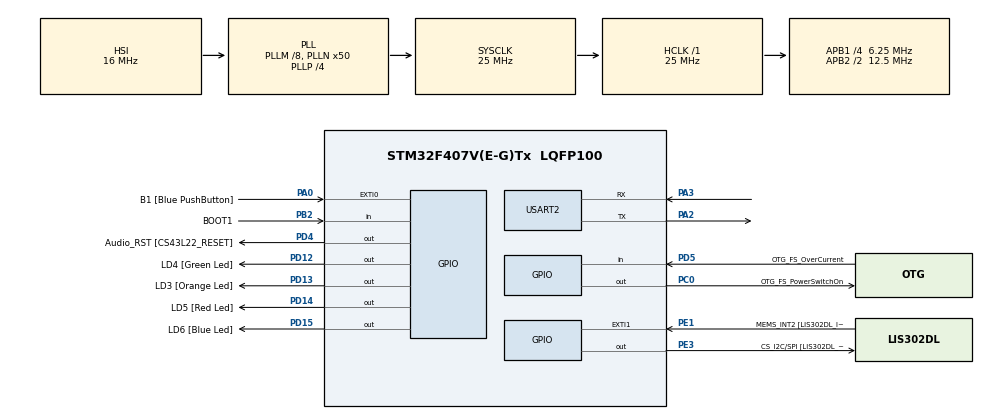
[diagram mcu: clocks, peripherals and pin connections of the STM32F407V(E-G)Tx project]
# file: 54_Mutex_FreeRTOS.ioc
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FREERTOS.Mutexes01=UART_Mutex,Dynamic,NULL,Available
FREERTOS.Tasks01=defaultTask,24,128,StartDefaultTask,Default,NULL,Dynamic,NULL,NULL;myTask02,24,128,Task1,Default,NULL,Dynamic,NULL,NULL;myTask03,24,128,Task2,Default,NULL,Dynamic,NULL,NULL
Mcu.Family=STM32F4
Mcu.Name=STM32F407V(E-G)Tx
Mcu.Package=LQFP100
NVIC.PriorityGroup=NVIC_PRIORITYGROUP_4
PA0-WKUP.GPIO_Label=B1 [Blue PushButton]
PA0-WKUP.Signal=GPXTI0
PA10.GPIO_Label=OTG_FS_ID
PA10.GPIO_Mode=GPIO_MODE_AF_PP
PA10.GPIO_PuPd=GPIO_NOPULL
PA10.GPIO_Speed=GPIO_SPEED_FREQ_LOW
PA10.Signal=USB_OTG_FS_ID
PA11.GPIO_Label=OTG_FS_DM
PA11.GPIO_Mode=GPIO_MODE_AF_PP
PA11.GPIO_PuPd=GPIO_NOPULL
PA11.GPIO_Speed=GPIO_SPEED_FREQ_LOW
PA11.Signal=USB_OTG_FS_DM
PA12.GPIO_Label=OTG_FS_DP
PA12.GPIO_Mode=GPIO_MODE_AF_PP
PA12.GPIO_PuPd=GPIO_NOPULL
PA12.GPIO_Speed=GPIO_SPEED_FREQ_LOW
PA12.Signal=USB_OTG_FS_DP
PA13.GPIO_Label=SWDIO
PA13.Signal=SYS_JTMS-SWDIO
PA14.GPIO_Label=SWCLK
PA14.Signal=SYS_JTCK-SWCLK
PA2.Mode=Asynchronous
PA2.Signal=USART2_TX
PA3.Mode=Asynchronous
PA3.Signal=USART2_RX
PA4.GPIO_Label=I2S3_WS [CS43L22_LRCK]
PA4.GPIO_Mode=GPIO_MODE_AF_PP
PA4.GPIO_PuPd=GPIO_NOPULL
PA4.GPIO_Speed=GPIO_SPEED_FREQ_LOW
PA4.Signal=I2S3_WS
PA5.GPIO_Label=SPI1_SCK [LIS302DL_SCL/SPC]
PA5.GPIO_Mode=GPIO_MODE_AF_PP
PA5.GPIO_PuPd=GPIO_NOPULL
PA5.GPIO_Speed=GPIO_SPEED_FREQ_LOW
PA5.Signal=SPI1_SCK
PA6.GPIO_Label=SPI1_MISO [LIS302DL_SDO]
PA6.GPIO_Mode=GPIO_MODE_AF_PP
PA6.GPIO_PuPd=GPIO_NOPULL
PA6.GPIO_Speed=GPIO_SPEED_FREQ_LOW
PA6.Signal=SPI1_MISO
PA7.GPIO_Label=SPI1_MOSI [LIS302DL_SDA/SDI/SDO]
PA7.GPIO_Mode=GPIO_MODE_AF_PP
PA7.GPIO_PuPd=GPIO_NOPULL
PA7.GPIO_Speed=GPIO_SPEED_FREQ_LOW
PA7.Signal=SPI1_MOSI
PA9.GPIO_Label=VBUS_FS
PA9.GPIO_Mode=GPIO_MODE_INPUT
PA9.GPIO_PuPd=GPIO_NOPULL
PA9.Signal=USB_OTG_FS_VBUS
PB10.GPIO_Label=CLK_IN [MP45DT02_CLK]
PB10.GPIO_Mode=GPIO_MODE_AF_PP
PB10.GPIO_PuPd=GPIO_NOPULL
PB10.GPIO_Speed=GPIO_SPEED_FREQ_LOW
PB10.Signal=I2S2_CK
PB2.GPIO_Label=BOOT1
PB2.GPIO_Mode=GPIO_MODE_INPUT
PB2.GPIO_PuPd=GPIO_NOPULL
PB2.Signal=GPIO_Input
PB3.GPIO_Label=SWO
PB3.Signal=SYS_JTDO-SWO
PB6.GPIO_Label=Audio_SCL [CS43L22_SCL]
PB6.GPIO_Mode=GPIO_MODE_AF_OD
PB6.GPIO_PuPd=GPIO_NOPULL
PB6.GPIO_Speed=GPIO_SPEED_FREQ_LOW
PB6.Signal=I2C1_SCL
PB9.GPIO_Label=Audio_SDA [CS43L22_SDA]
PB9.GPIO_Mode=GPIO_MODE_AF_OD
PB9.GPIO_PuPd=GPIO_NOPULL
PB9.GPIO_Speed=GPIO_SPEED_FREQ_LOW
PB9.Signal=I2C1_SDA
PC0.GPIO_Label=OTG_FS_PowerSwitchOn
PC0.GPIO_PuPd=GPIO_NOPULL
PC0.GPIO_Speed=GPIO_SPEED_FREQ_LOW
PC0.PinState=GPIO_PIN_SET
PC0.Signal=GPIO_Output
PC10.GPIO_Label=I2S3_SCK [CS43L22_SCLK]
PC10.GPIO_Mode=GPIO_MODE_AF_PP
PC10.GPIO_PuPd=GPIO_NOPULL
PC10.GPIO_Speed=GPIO_SPEED_FREQ_LOW
PC10.Signal=I2S3_CK
PC12.GPIO_Label=I2S3_SD [CS43L22_SDIN]
PC12.GPIO_Mode=GPIO_MODE_AF_PP
PC12.GPIO_PuPd=GPIO_NOPULL
PC12.GPIO_Speed=GPIO_SPEED_FREQ_LOW
PC12.Signal=I2S3_SD
PC14-OSC32_IN.GPIO_Label=PC14-OSC32_IN
PC14-OSC32_IN.Signal=RCC_OSC32_IN
PC15-OSC32_OUT.GPIO_Label=PC15-OSC32_OUT
PC15-OSC32_OUT.Signal=RCC_OSC32_OUT
PC3.GPIO_Label=PDM_OUT [MP45DT02_DOUT]
PC3.GPIO_Mode=GPIO_MODE_AF_PP
PC3.GPIO_PuPd=GPIO_NOPULL
PC3.GPIO_Speed=GPIO_SPEED_FREQ_LOW
PC3.Signal=I2S2_SD
PC7.GPIO_Label=I2S3_MCK [CS43L22_MCLK]
PC7.GPIO_Mode=GPIO_MODE_AF_PP
PC7.GPIO_PuPd=GPIO_NOPULL
PC7.GPIO_Speed=GPIO_SPEED_FREQ_LOW
PC7.Signal=I2S3_MCK
PD12.GPIO_Label=LD4 [Green Led]
PD12.GPIO_PuPd=GPIO_NOPULL
PD12.GPIO_Speed=GPIO_SPEED_FREQ_LOW
PD12.Signal=GPIO_Output
PD13.GPIO_Label=LD3 [Orange Led]
PD13.GPIO_PuPd=GPIO_NOPULL
PD13.GPIO_Speed=GPIO_SPEED_FREQ_LOW
PD13.Signal=GPIO_Output
PD14.GPIO_Label=LD5 [Red Led]
PD14.GPIO_PuPd=GPIO_NOPULL
PD14.GPIO_Speed=GPIO_SPEED_FREQ_LOW
PD14.Signal=GPIO_Output
PD15.GPIO_Label=LD6 [Blue Led]
PD15.GPIO_PuPd=GPIO_NOPULL
PD15.GPIO_Speed=GPIO_SPEED_FREQ_LOW
PD15.Signal=GPIO_Output
PD4.GPIO_Label=Audio_RST [CS43L22_RESET]
PD4.GPIO_PuPd=GPIO_NOPULL
PD4.GPIO_Speed=GPIO_SPEED_FREQ_LOW
PD4.Signal=GPIO_Output
PD5.GPIO_Label=OTG_FS_OverCurrent
PD5.GPIO_Mode=GPIO_MODE_INPUT
PD5.GPIO_PuPd=GPIO_NOPULL
PD5.Signal=GPIO_Input
PE1.GPIO_Label=MEMS_INT2 [LIS302DL_INT2]
PE1.GPIO_ModeDefaultEXTI=GPIO_MODE_EVT_RISING
PE1.GPIO_PuPd=GPIO_NOPULL
PE1.Signal=GPXTI1
PE3.GPIO_Label=CS_I2C/SPI [LIS302DL_CS_I2C/SPI]
PE3.GPIO_PuPd=GPIO_NOPULL
PE3.GPIO_Speed=GPIO_SPEED_FREQ_LOW
PE3.Signal=GPIO_Output
PH0-OSC_IN.GPIO_Label=PH0-OSC_IN
PH0-OSC_IN.Signal=RCC_OSC_IN
PH1-OSC_OUT.GPIO_Label=PH1-OSC_OUT
PH1-OSC_OUT.Signal=RCC_OSC_OUT
ProjectManager.HeapSize=0x200
ProjectManager.StackSize=0x400
ProjectManager.TargetToolchain=STM32CubeIDE
RCC.48MHZClocksFreq_Value=14285714.285714285
RCC.AHBFreq_Value=25000000
RCC.APB1CLKDivider=RCC_HCLK_DIV4
RCC.APB1Freq_Value=6250000
RCC.APB1TimFreq_Value=12500000
RCC.APB2CLKDivider=RCC_HCLK_DIV2
RCC.APB2Freq_Value=12500000
RCC.APB2TimFreq_Value=25000000
RCC.CortexFreq_Value=25000000
RCC.HCLKFreq_Value=25000000
RCC.HSE_VALUE=8000000
RCC.HSI_VALUE=16000000
RCC.LSE_VALUE=32768
RCC.PLLM=8
RCC.PLLN=50
RCC.PLLP=RCC_PLLP_DIV4
RCC.PLLQ=7
RCC.SYSCLKFreq_VALUE=25000000
RCC.SYSCLKSource=RCC_SYSCLKSOURCE_PLLCLK
RCC.VCOOutputFreq_Value=100000000
USART2.VirtualMode=VM_ASYNC
VP_FREERTOS_VS_CMSIS_V2.Mode=CMSIS_V2
board=STM32F407G-DISC1

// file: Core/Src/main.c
/* USER CODE BEGIN Header */
/**
  ******************************************************************************
  * @file           : main.c
  * @brief          : Main program body
  ******************************************************************************
  * @attention
  *
  * Copyright (c) 2026 STMicroelectronics.
  * All rights reserved.
  *
  * This software is licensed under terms that can be found in the LICENSE file
  * in the root directory of this software component.
  * If no LICENSE file comes with this software, it is provided AS-IS.
  *
  ******************************************************************************
  */
/* USER CODE END Header */
#include "main.h"
#include "cmsis_os.h"

/* USER CODE BEGIN Includes */
#include <stdio.h>
/* USER CODE END Includes */

UART_HandleTypeDef huart2;

/* Definitions for defaultTask */
osThreadId_t defaultTaskHandle;
const osThreadAttr_t defaultTask_attributes = {
  .name = "defaultTask",
  .stack_size = 128 * 4,
  .priority = (osPriority_t) osPriorityNormal,
};
/* Definitions for myTask02 */
osThreadId_t myTask02Handle;
const osThreadAttr_t myTask02_attributes = {
  .name = "myTask02",
  .stack_size = 128 * 4,
  .priority = (osPriority_t) osPriorityNormal,
};
/* Definitions for myTask03 */
osThreadId_t myTask03Handle;
const osThreadAttr_t myTask03_attributes = {
  .name = "myTask03",
  .stack_size = 128 * 4,
  .priority = (osPriority_t) osPriorityNormal,
};
/* Definitions for UART_Mutex */
osMutexId_t UART_MutexHandle;
const osMutexAttr_t UART_Mutex_attributes = {
  .name = "UART_Mutex"
};

void SystemClock_Config(void);
static void MX_GPIO_Init(void);
static void MX_USART2_UART_Init(void);
void StartDefaultTask(void *argument);
void Task1(void *argument);
void Task2(void *argument);

/* USER CODE BEGIN 0 */
// Redirect printf to USART2
int __io_putchar(int ch)
{
    HAL_UART_Transmit(&huart2,
                      (uint8_t*)&ch,
                      1,
                      HAL_MAX_DELAY);

    return ch;
}
/* USER CODE END 0 */

int main(void)
{

  /* MCU Configuration--------------------------------------------------------*/

  /* Reset of all peripherals, Initializes the Flash interface and the Systick. */
  HAL_Init();

  /* Configure the system clock */
  SystemClock_Config();

  /* Initialize all configured peripherals */
  MX_GPIO_Init();
  MX_USART2_UART_Init();

  /* Init scheduler */
  osKernelInitialize();
  /* Create the mutex(es) */
  /* creation of UART_Mutex */
  UART_MutexHandle = osMutexNew(&UART_Mutex_attributes);

  /* Create the thread(s) */
  /* creation of defaultTask */
  defaultTaskHandle = osThreadNew(StartDefaultTask, NULL, &defaultTask_attributes);

  /* creation of myTask02 */
  myTask02Handle = osThreadNew(Task1, NULL, &myTask02_attributes);

  /* creation of myTask03 */
  myTask03Handle = osThreadNew(Task2, NULL, &myTask03_attributes);

  /* Start scheduler */
  osKernelStart();

  /* We should never get here as control is now taken by the scheduler */

  /* Infinite loop */
  while (1)
  {

  }
}

void SystemClock_Config(void)
{
  RCC_OscInitTypeDef RCC_OscInitStruct = {0};
  RCC_ClkInitTypeDef RCC_ClkInitStruct = {0};

  /** Configure the main internal regulator output voltage
  */
  __HAL_RCC_PWR_CLK_ENABLE();
  __HAL_PWR_VOLTAGESCALING_CONFIG(PWR_REGULATOR_VOLTAGE_SCALE1);

  /** Initializes the RCC Oscillators according to the specified parameters
  * in the RCC_OscInitTypeDef structure.
  */
  RCC_OscInitStruct.OscillatorType = RCC_OSCILLATORTYPE_HSI;
  RCC_OscInitStruct.HSIState = RCC_HSI_ON;
  RCC_OscInitStruct.HSICalibrationValue = RCC_HSICALIBRATION_DEFAULT;
  RCC_OscInitStruct.PLL.PLLState = RCC_PLL_ON;
  RCC_OscInitStruct.PLL.PLLSource = RCC_PLLSOURCE_HSI;
  RCC_OscInitStruct.PLL.PLLM = 8;
  RCC_OscInitStruct.PLL.PLLN = 50;
  RCC_OscInitStruct.PLL.PLLP = RCC_PLLP_DIV4;
  RCC_OscInitStruct.PLL.PLLQ = 7;
  if (HAL_RCC_OscConfig(&RCC_OscInitStruct) != HAL_OK)
  {
    Error_Handler();
  }

  /** Initializes the CPU, AHB and APB buses clocks
  */
  RCC_ClkInitStruct.ClockType = RCC_CLOCKTYPE_HCLK|RCC_CLOCKTYPE_SYSCLK
                              |RCC_CLOCKTYPE_PCLK1|RCC_CLOCKTYPE_PCLK2;
  RCC_ClkInitStruct.SYSCLKSource = RCC_SYSCLKSOURCE_PLLCLK;
  RCC_ClkInitStruct.AHBCLKDivider = RCC_SYSCLK_DIV1;
  RCC_ClkInitStruct.APB1CLKDivider = RCC_HCLK_DIV4;
  RCC_ClkInitStruct.APB2CLKDivider = RCC_HCLK_DIV2;

  if (HAL_RCC_ClockConfig(&RCC_ClkInitStruct, FLASH_LATENCY_0) != HAL_OK)
  {
    Error_Handler();
  }
}

static void MX_USART2_UART_Init(void)
{

  huart2.Instance = USART2;
  huart2.Init.BaudRate = 115200;
  huart2.Init.WordLength = UART_WORDLENGTH_8B;
  huart2.Init.StopBits = UART_STOPBITS_1;
  huart2.Init.Parity = UART_PARITY_NONE;
  huart2.Init.Mode = UART_MODE_TX_RX;
  huart2.Init.HwFlowCtl = UART_HWCONTROL_NONE;
  huart2.Init.OverSampling = UART_OVERSAMPLING_16;
  if (HAL_UART_Init(&huart2) != HAL_OK)
  {
    Error_Handler();
  }

}

static void MX_GPIO_Init(void)
{
  GPIO_InitTypeDef GPIO_InitStruct = {0};

  /* GPIO Ports Clock Enable */
  __HAL_RCC_GPIOE_CLK_ENABLE();
  __HAL_RCC_GPIOC_CLK_ENABLE();
  __HAL_RCC_GPIOH_CLK_ENABLE();
  __HAL_RCC_GPIOA_CLK_ENABLE();
  __HAL_RCC_GPIOB_CLK_ENABLE();
  __HAL_RCC_GPIOD_CLK_ENABLE();

  /*Configure GPIO pin Output Level */
  HAL_GPIO_WritePin(CS_I2C_SPI_GPIO_Port, CS_I2C_SPI_Pin, GPIO_PIN_RESET);

  /*Configure GPIO pin Output Level */
  HAL_GPIO_WritePin(OTG_FS_PowerSwitchOn_GPIO_Port, OTG_FS_PowerSwitchOn_Pin, GPIO_PIN_SET);

  /*Configure GPIO pin Output Level */
  HAL_GPIO_WritePin(GPIOD, LD4_Pin|LD3_Pin|LD5_Pin|LD6_Pin
                          |Audio_RST_Pin, GPIO_PIN_RESET);

  /*Configure GPIO pin : CS_I2C_SPI_Pin */
  GPIO_InitStruct.Pin = CS_I2C_SPI_Pin;
  GPIO_InitStruct.Mode = GPIO_MODE_OUTPUT_PP;
  GPIO_InitStruct.Pull = GPIO_NOPULL;
  GPIO_InitStruct.Speed = GPIO_SPEED_FREQ_LOW;
  HAL_GPIO_Init(CS_I2C_SPI_GPIO_Port, &GPIO_InitStruct);

  /*Configure GPIO pin : OTG_FS_PowerSwitchOn_Pin */
  GPIO_InitStruct.Pin = OTG_FS_PowerSwitchOn_Pin;
  GPIO_InitStruct.Mode = GPIO_MODE_OUTPUT_PP;
  GPIO_InitStruct.Pull = GPIO_NOPULL;
  GPIO_InitStruct.Speed = GPIO_SPEED_FREQ_LOW;
  HAL_GPIO_Init(OTG_FS_PowerSwitchOn_GPIO_Port, &GPIO_InitStruct);

  /*Configure GPIO pin : PDM_OUT_Pin */
  GPIO_InitStruct.Pin = PDM_OUT_Pin;
  GPIO_InitStruct.Mode = GPIO_MODE_AF_PP;
  GPIO_InitStruct.Pull = GPIO_NOPULL;
  GPIO_InitStruct.Speed = GPIO_SPEED_FREQ_LOW;
  GPIO_InitStruct.Alternate = GPIO_AF5_SPI2;
  HAL_GPIO_Init(PDM_OUT_GPIO_Port, &GPIO_InitStruct);

  /*Configure GPIO pin : B1_Pin */
  GPIO_InitStruct.Pin = B1_Pin;
  GPIO_InitStruct.Mode = GPIO_MODE_IT_RISING;
  GPIO_InitStruct.Pull = GPIO_NOPULL;
  HAL_GPIO_Init(B1_GPIO_Port, &GPIO_InitStruct);

  /*Configure GPIO pin : I2S3_WS_Pin */
  GPIO_InitStruct.Pin = I2S3_WS_Pin;
  GPIO_InitStruct.Mode = GPIO_MODE_AF_PP;
  GPIO_InitStruct.Pull = GPIO_NOPULL;
  GPIO_InitStruct.Speed = GPIO_SPEED_FREQ_LOW;
  GPIO_InitStruct.Alternate = GPIO_AF6_SPI3;
  HAL_GPIO_Init(I2S3_WS_GPIO_Port, &GPIO_InitStruct);

  /*Configure GPIO pins : SPI1_SCK_Pin SPI1_MISO_Pin SPI1_MOSI_Pin */
  GPIO_InitStruct.Pin = SPI1_SCK_Pin|SPI1_MISO_Pin|SPI1_MOSI_Pin;
  GPIO_InitStruct.Mode = GPIO_MODE_AF_PP;
  GPIO_InitStruct.Pull = GPIO_NOPULL;
  GPIO_InitStruct.Speed = GPIO_SPEED_FREQ_LOW;
  GPIO_InitStruct.Alternate = GPIO_AF5_SPI1;
  HAL_GPIO_Init(GPIOA, &GPIO_InitStruct);

  /*Configure GPIO pin : BOOT1_Pin */
  GPIO_InitStruct.Pin = BOOT1_Pin;
  GPIO_InitStruct.Mode = GPIO_MODE_INPUT;
  GPIO_InitStruct.Pull = GPIO_NOPULL;
  HAL_GPIO_Init(BOOT1_GPIO_Port, &GPIO_InitStruct);

  /*Configure GPIO pin : CLK_IN_Pin */
  GPIO_InitStruct.Pin = CLK_IN_Pin;
  GPIO_InitStruct.Mode = GPIO_MODE_AF_PP;
  GPIO_InitStruct.Pull = GPIO_NOPULL;
  GPIO_InitStruct.Speed = GPIO_SPEED_FREQ_LOW;
  GPIO_InitStruct.Alternate = GPIO_AF5_SPI2;
  HAL_GPIO_Init(CLK_IN_GPIO_Port, &GPIO_InitStruct);

  /*Configure GPIO pins : LD4_Pin LD3_Pin LD5_Pin LD6_Pin
                           Audio_RST_Pin */
  GPIO_InitStruct.Pin = LD4_Pin|LD3_Pin|LD5_Pin|LD6_Pin
                          |Audio_RST_Pin;
  GPIO_InitStruct.Mode = GPIO_MODE_OUTPUT_PP;
  GPIO_InitStruct.Pull = GPIO_NOPULL;
  GPIO_InitStruct.Speed = GPIO_SPEED_FREQ_LOW;
  HAL_GPIO_Init(GPIOD, &GPIO_InitStruct);

  /*Configure GPIO pins : I2S3_MCK_Pin I2S3_SCK_Pin I2S3_SD_Pin */
  GPIO_InitStruct.Pin = I2S3_MCK_Pin|I2S3_SCK_Pin|I2S3_SD_Pin;
  GPIO_InitStruct.Mode = GPIO_MODE_AF_PP;
  GPIO_InitStruct.Pull = GPIO_NOPULL;
  GPIO_InitStruct.Speed = GPIO_SPEED_FREQ_LOW;
  GPIO_InitStruct.Alternate = GPIO_AF6_SPI3;
  HAL_GPIO_Init(GPIOC, &GPIO_InitStruct);

  /*Configure GPIO pin : VBUS_FS_Pin */
  GPIO_InitStruct.Pin = VBUS_FS_Pin;
  GPIO_InitStruct.Mode = GPIO_MODE_INPUT;
  GPIO_InitStruct.Pull = GPIO_NOPULL;
  HAL_GPIO_Init(VBUS_FS_GPIO_Port, &GPIO_InitStruct);

  /*Configure GPIO pins : OTG_FS_ID_Pin OTG_FS_DM_Pin OTG_FS_DP_Pin */
  GPIO_InitStruct.Pin = OTG_FS_ID_Pin|OTG_FS_DM_Pin|OTG_FS_DP_Pin;
  GPIO_InitStruct.Mode = GPIO_MODE_AF_PP;
  GPIO_InitStruct.Pull = GPIO_NOPULL;
  GPIO_InitStruct.Speed = GPIO_SPEED_FREQ_LOW;
  GPIO_InitStruct.Alternate = GPIO_AF10_OTG_FS;
  HAL_GPIO_Init(GPIOA, &GPIO_InitStruct);

  /*Configure GPIO pin : OTG_FS_OverCurrent_Pin */
  GPIO_InitStruct.Pin = OTG_FS_OverCurrent_Pin;
  GPIO_InitStruct.Mode = GPIO_MODE_INPUT;
  GPIO_InitStruct.Pull = GPIO_NOPULL;
  HAL_GPIO_Init(OTG_FS_OverCurrent_GPIO_Port, &GPIO_InitStruct);

  /*Configure GPIO pins : Audio_SCL_Pin Audio_SDA_Pin */
  GPIO_InitStruct.Pin = Audio_SCL_Pin|Audio_SDA_Pin;
  GPIO_InitStruct.Mode = GPIO_MODE_AF_OD;
  GPIO_InitStruct.Pull = GPIO_NOPULL;
  GPIO_InitStruct.Speed = GPIO_SPEED_FREQ_LOW;
  GPIO_InitStruct.Alternate = GPIO_AF4_I2C1;
  HAL_GPIO_Init(GPIOB, &GPIO_InitStruct);

  /*Configure GPIO pin : MEMS_INT2_Pin */
  GPIO_InitStruct.Pin = MEMS_INT2_Pin;
  GPIO_InitStruct.Mode = GPIO_MODE_EVT_RISING;
  GPIO_InitStruct.Pull = GPIO_NOPULL;
  HAL_GPIO_Init(MEMS_INT2_GPIO_Port, &GPIO_InitStruct);

}

void StartDefaultTask(void *argument)
{
  for(;;)
  {
    osDelay(1);
  }
}

void Task1(void *argument)
{
  /* USER CODE BEGIN Task1 */
  /* Infinite loop */
  for(;;)
  {
	  // Take mutex before using UART
	        osMutexAcquire(UART_MutexHandle,
	                       osWaitForever);

	        printf("Task1 Using UART\r\n");

	        osDelay(500);

	        printf("Task1 Done\r\n\r\n");

	        // Release mutex
	        osMutexRelease(UART_MutexHandle);
    osDelay(1000);
  }
  /* USER CODE END Task1 */
}

void Task2(void *argument)
{
  /* USER CODE BEGIN Task2 */
  /* Infinite loop */
  for(;;)
  {
	  // Take mutex before UART access
	       osMutexAcquire(UART_MutexHandle,
	                      osWaitForever);

	       printf("Task2 Using UART\r\n");

	       osDelay(500);

	       printf("Task2 Done\r\n\r\n");

	       // Release mutex
	       osMutexRelease(UART_MutexHandle);
    osDelay(1);
  }
  /* USER CODE END Task2 */
}

void Error_Handler(void)
{
  __disable_irq();
  while (1)
  {
  }
}
